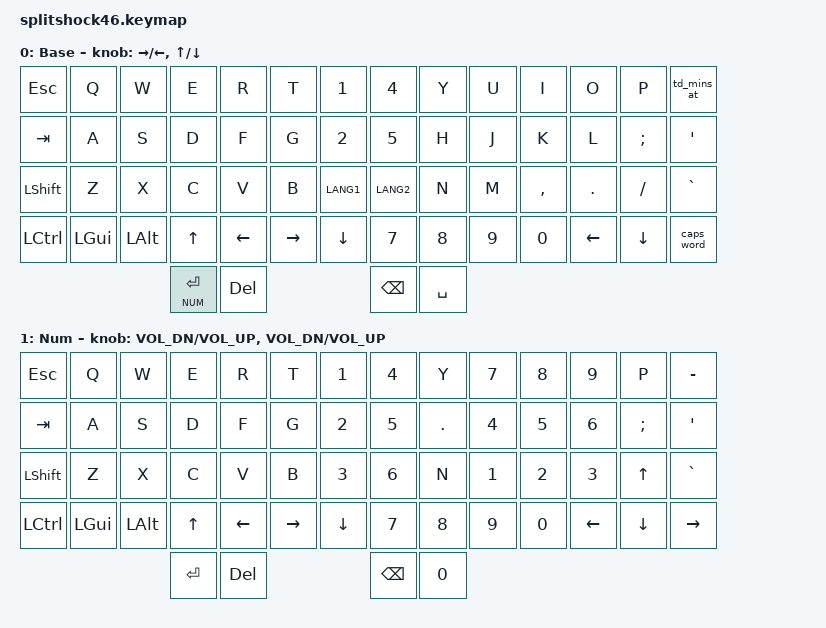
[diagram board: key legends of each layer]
#include <behaviors.dtsi>
#include <dt-bindings/zmk/keys.h>

#define BASE 0
#define NUM  1

/ {
    behaviors {
        td_mins_at: tap_dance_mins_at {
            compatible = "zmk,behavior-tap-dance";
            #binding-cells = <0>;
            tapping-term-ms = <180>;
            bindings = <&kp MINUS>, <&kp AT>;
        };
    };

    keymap {
        compatible = "zmk,keymap";

        base_layer {
            display-name = "Base";
            bindings = <
                &kp ESC    &kp Q     &kp W     &kp E      &kp R     &kp T      &kp N1      &kp N4     &kp Y     &kp U     &kp I      &kp O      &kp P      &td_mins_at
                &kp TAB    &kp A     &kp S     &kp D      &kp F     &kp G      &kp N2      &kp N5     &kp H     &kp J     &kp K      &kp L      &kp SEMI   &kp SQT
                &kp LSHIFT &kp Z     &kp X     &kp C      &kp V     &kp B      &kp LANG1   &kp LANG2  &kp N     &kp M     &kp COMMA  &kp DOT    &kp SLASH  &kp GRAVE
                &kp LCTRL  &kp LGUI  &kp LALT  &kp UP     &kp LEFT  &kp RIGHT  &kp DOWN    &kp N7     &kp N8    &kp N9    &kp N0     &kp LEFT   &kp DOWN   &caps_word
                                                   &lt NUM ENTER     &kp DEL               &kp BSPC   &kp SPACE
            >;

            sensor-bindings = <&inc_dec_kp RIGHT LEFT>, <&inc_dec_kp UP DOWN>;
        };

        number_layer {
            display-name = "Num";
            bindings = <
                &kp ESC    &kp Q     &kp W     &kp E      &kp R     &kp T      &kp N1      &kp N4     &kp Y     &kp N7    &kp N8     &kp N9     &kp P      &kp MINUS
                &kp TAB    &kp A     &kp S     &kp D      &kp F     &kp G      &kp N2      &kp N5     &kp DOT   &kp N4    &kp N5     &kp N6     &kp SEMI   &kp SQT
                &kp LSHIFT &kp Z     &kp X     &kp C      &kp V     &kp B      &kp N3      &kp N6     &kp N     &kp N1    &kp N2     &kp N3     &kp UP     &kp GRAVE
                &kp LCTRL  &kp LGUI  &kp LALT  &kp UP     &kp LEFT  &kp RIGHT  &kp DOWN    &kp N7     &kp N8    &kp N9    &kp N0     &kp LEFT   &kp DOWN   &kp RIGHT
                                                   &kp ENTER        &kp DEL               &kp BSPC   &kp N0
            >;

            sensor-bindings = <&inc_dec_kp C_VOL_DN C_VOL_UP>, <&inc_dec_kp C_VOL_DN C_VOL_UP>;
        };
    };
};

&lt {
    tapping-term-ms = <180>;
};
